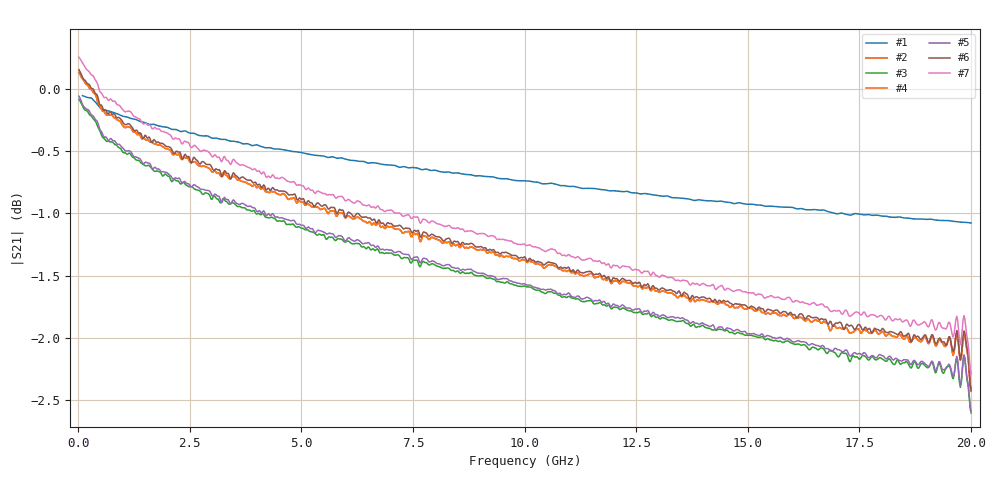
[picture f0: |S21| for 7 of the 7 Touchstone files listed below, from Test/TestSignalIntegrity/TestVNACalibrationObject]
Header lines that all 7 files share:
! https://github.com/TeledyneLeCroy/SignalIntegrity
# MHz S MA R 50.0
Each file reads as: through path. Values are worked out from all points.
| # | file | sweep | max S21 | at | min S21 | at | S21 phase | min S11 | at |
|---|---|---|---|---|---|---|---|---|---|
| 1 | cable.s2p | 100 MHz to 20 GHz | -0.06 dB | 100 MHz | -1.1 dB | 20 GHz | 108 deg at 10.1 GHz | -52.6 dB | 16.7 GHz |
| 2 | TDRThru12.s2p | 20 MHz to 20 GHz | 0.13 dB | 20 MHz | -2.4 dB | 20 GHz | -94 deg at 10.02 GHz | -73.1 dB | 18.48 GHz |
| 3 | TDRThru13.s2p | 20 MHz to 20 GHz | -0.09 dB | 20 MHz | -2.6 dB | 20 GHz | -3 deg at 10.02 GHz | -60.5 dB | 9.22 GHz |
| 4 | TDRThru14.s2p | 20 MHz to 20 GHz | 0.13 dB | 20 MHz | -2.4 dB | 20 GHz | -94 deg at 10.02 GHz | -63.9 dB | 11.38 GHz |
| 5 | TDRThru23.s2p | 20 MHz to 20 GHz | -0.06 dB | 20 MHz | -2.6 dB | 20 GHz | -94 deg at 10.02 GHz | -62.9 dB | 19.36 GHz |
| 6 | TDRThru24.s2p | 20 MHz to 20 GHz | 0.15 dB | 20 MHz | -2.4 dB | 20 GHz | 175 deg at 10.02 GHz | -58.5 dB | 140 MHz |
| 7 | TDRThru34.s2p | 20 MHz to 20 GHz | 0.25 dB | 20 MHz | -2.3 dB | 20 GHz | -94 deg at 10.02 GHz | -61.3 dB | 8.28 GHz |
